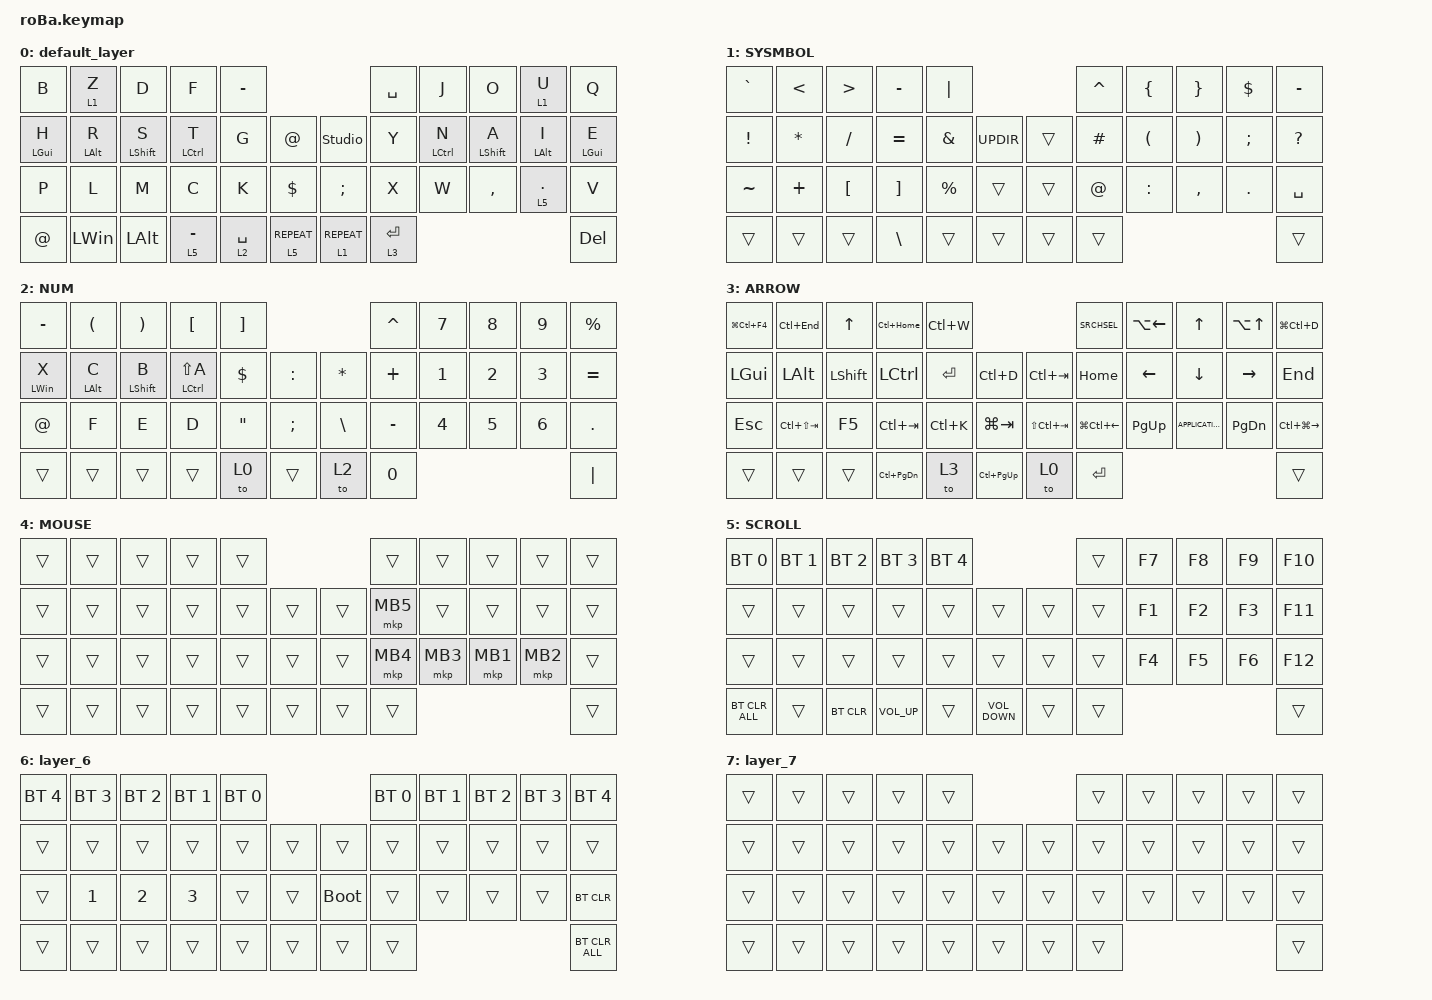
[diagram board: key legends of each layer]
#include <behaviors.dtsi>
#include <dt-bindings/zmk/bt.h>
#include <dt-bindings/zmk/keys.h>
#include <dt-bindings/zmk/pointing.h>

&mt {
    flavor = "balanced";
    quick-tap-ms = <0>;
};

/ {
    combos {
        compatible = "zmk,combos";

        tab {
            bindings = <&kp TAB>;
            key-positions = <11 10>;
        };

        eq {
            bindings = <&kp EQUAL>;
            key-positions = <6 8>;
        };

        backSpack {
            bindings = <&kp BACKSPACE>;
            key-positions = <18 19>;
        };

        del {
            bindings = <&kp DELETE>;
            key-positions = <20 19>;
        };

        esc {
            bindings = <&kp ESCAPE>;
            key-positions = <11 12>;
        };
    };

    macros {
        to_layer_0: to_layer_0 {
            compatible = "zmk,behavior-macro-one-param";
            #binding-cells = <1>;
            bindings = <&to 0 &macro_param_1to1 &kp MACRO_PLACEHOLDER>;
            label = "TO_LAYER_0";
        };

        SRCHSEL: SRCHSEL {
            compatible = "zmk,behavior-macro";
            #binding-cells = <0>;
            bindings = <&kp LC(C) &kp LC(T) &kp LC(V)>;
            label = "SRCHSEL";
        };

        UPDIR: updir {
            compatible = "zmk,behavior-macro";
            #binding-cells = <0>;
            bindings = <&kp PERIOD &kp PERIOD &kp SLASH>;
            label = "UPDIR";
        };
    };

    behaviors {
        lt_to_layer_0: lt_to_layer_0 {
            compatible = "zmk,behavior-hold-tap";
            label = "LAYER_TAP_TO_0";
            bindings = <&mo>, <&to_layer_0>;

            #binding-cells = <2>;
            tapping-term-ms = <200>;
        };
    };

    keymap {
        compatible = "zmk,keymap";

        default_layer {
            bindings = <
&kp B           &lt 1 Z         &kp D             &kp F        &kp MINUS                                        &kp SPACE    &kp J        &kp O             &lt 1 U         &kp Q
&mt LEFT_GUI H  &mt LEFT_ALT R  &mt LEFT_SHIFT S  &mt LCTRL T  &kp G        &kp AT_SIGN         &studio_unlock  &kp Y        &mt LCTRL N  &mt LEFT_SHIFT A  &mt LEFT_ALT I  &mt LEFT_GUI E
&kp P           &kp L           &kp M             &kp C        &kp K        &kp DOLLAR          &kp SEMICOLON   &kp X        &kp W        &kp COMMA         &lt 5 PERIOD    &kp V
&kp AT_SIGN     &kp LEFT_WIN    &kp LEFT_ALT      &lt 5 MINUS  &lt 2 SPACE  &lt 5 C_REPEAT      &lt 1 C_REPEAT  &lt 3 ENTER                                                 &kp DEL
            >;
        };

        SYSMBOL {
            bindings = <
&kp GRAVE        &kp LESS_THAN  &kp GREATER_THAN  &kp MINUS          &kp PIPE                           &kp CARET    &kp LEFT_BRACE        &kp RIGHT_BRACE        &kp DOLLAR     &kp MINUS
&kp EXCLAMATION  &kp ASTERISK   &kp SLASH         &kp EQUAL          &kp AMPERSAND  &UPDIR      &trans  &kp HASH     &kp LEFT_PARENTHESIS  &kp RIGHT_PARENTHESIS  &kp SEMICOLON  &kp QUESTION
&kp TILDE        &kp PLUS       &kp LEFT_BRACKET  &kp RIGHT_BRACKET  &kp PERCENT    &trans      &trans  &kp AT_SIGN  &kp COLON             &kp COMMA              &kp PERIOD     &kp SPACE
&trans           &trans         &trans            &kp BACKSLASH      &trans         &trans      &trans  &trans                                                                   &trans
            >;
        };

        NUM {
            bindings = <
&kp MINUS       &kp LEFT_PARENTHESIS  &kp RIGHT_PARENTHESIS  &kp LBKT         &kp RBKT                                        &kp CARET  &kp N7  &kp N8  &kp N9  &kp PERCENT
&mt LEFT_WIN X  &mt LEFT_ALT C        &mt LEFT_SHIFT B       &mt LCTRL LS(A)  &kp DOLLAR         &kp COLON      &kp ASTERISK  &kp PLUS   &kp N1  &kp N2  &kp N3  &kp EQUAL
&kp AT_SIGN     &kp F                 &kp E                  &kp D            &kp DOUBLE_QUOTES  &kp SEMI       &kp BSLH      &kp MINUS  &kp N4  &kp N5  &kp N6  &kp DOT
&trans          &trans                &trans                 &trans           &to 0              &trans         &to 2         &kp N0                             &kp PIPE
            >;
        };

        ARROW {
            bindings = <
&kp LG(LC(F4))  &kp LC(END)      &kp UP_ARROW    &kp LC(HOME)       &kp LC(W)                                        &SRCHSEL                &kp LA(LEFT_ARROW)  &kp UP_ARROW       &kp LA(UP_ARROW)  &kp LG(LC(D))
&kp LEFT_GUI    &kp LEFT_ALT     &kp LEFT_SHIFT  &kp LCTRL          &kp ENTER  &kp LC(D)            &kp LC(TAB)      &kp HOME                &kp LEFT_ARROW      &kp DOWN           &kp RIGHT         &kp END
&kp ESCAPE      &kp LC(LS(TAB))  &kp F5          &kp LC(TAB)        &kp LC(K)  &kp LG(TAB)          &kp LS(LC(TAB))  &kp LG(LC(LEFT_ARROW))  &kp PG_UP           &kp K_APPLICATION  &kp PAGE_DOWN     &kp LC(LG(RIGHT_ARROW))
&trans          &trans           &trans          &kp LC(PAGE_DOWN)  &to 3      &kp LC(PAGE_UP)      &to 0            &kp ENTER                                                                        &trans
            >;
        };

        MOUSE {
            bindings = <
&trans  &trans  &trans  &trans  &trans                      &trans    &trans    &trans    &trans    &trans
&trans  &trans  &trans  &trans  &trans  &trans      &trans  &mkp MB5  &trans    &trans    &trans    &trans
&trans  &trans  &trans  &trans  &trans  &trans      &trans  &mkp MB4  &mkp MB3  &mkp MB1  &mkp MB2  &trans
&trans  &trans  &trans  &trans  &trans  &trans      &trans  &trans                                  &trans
            >;
        };

        SCROLL {
            bindings = <
&bt BT_SEL 0    &bt BT_SEL 1  &bt BT_SEL 2  &bt BT_SEL 3  &bt BT_SEL 4                                 &trans  &kp F7  &kp F8  &kp F9  &kp F10
&trans          &trans        &trans        &trans        &trans        &trans                 &trans  &trans  &kp F1  &kp F2  &kp F3  &kp F11
&trans          &trans        &trans        &trans        &trans        &trans                 &trans  &trans  &kp F4  &kp F5  &kp F6  &kp F12
&bt BT_CLR_ALL  &trans        &bt BT_CLR    &kp C_VOL_UP  &trans        &kp C_VOLUME_DOWN      &trans  &trans                          &trans
            >;
        };

        layer_6 {
            bindings = <
&bt BT_SEL 4  &bt BT_SEL 3  &bt BT_SEL 2  &bt BT_SEL 1  &bt BT_SEL 0                           &bt BT_SEL 0  &bt BT_SEL 1  &bt BT_SEL 2  &bt BT_SEL 3  &bt BT_SEL 4
&trans        &trans        &trans        &trans        &trans        &trans      &trans       &trans        &trans        &trans        &trans        &trans
&trans        &kp NUMBER_1  &kp NUMBER_2  &kp NUMBER_3  &trans        &trans      &bootloader  &trans        &trans        &trans        &trans        &bt BT_CLR
&trans        &trans        &trans        &trans        &trans        &trans      &trans       &trans                                                  &bt BT_CLR_ALL
            >;
        };

        layer_7 {
            bindings = <
&trans  &trans  &trans  &trans  &trans                      &trans  &trans  &trans  &trans  &trans
&trans  &trans  &trans  &trans  &trans  &trans      &trans  &trans  &trans  &trans  &trans  &trans
&trans  &trans  &trans  &trans  &trans  &trans      &trans  &trans  &trans  &trans  &trans  &trans
&trans  &trans  &trans  &trans  &trans  &trans      &trans  &trans                          &trans
            >;
        };
    };
};
